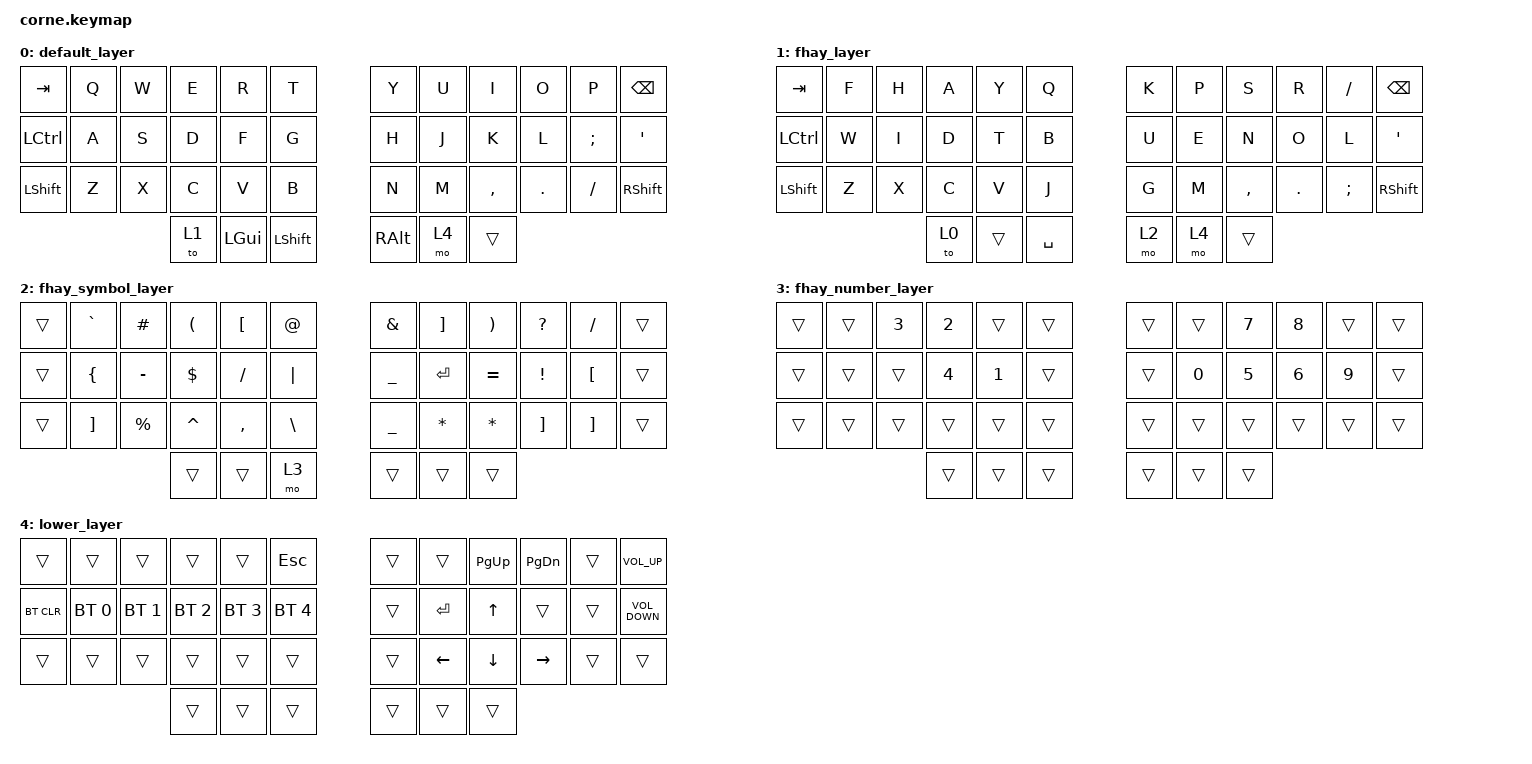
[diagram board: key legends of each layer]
/*
 * Copyright (c) 2020 The ZMK Contributors
 *
 * SPDX-License-Identifier: MIT
 */

#include <behaviors.dtsi>
#include <dt-bindings/zmk/keys.h>
#include <dt-bindings/zmk/bt.h>

/ {
        keymap {
                compatible = "zmk,keymap";

                /**
                	This is the software layer. It is a standard keyboard. The fhay keymap emulates the next three layers,
                		with:
                			RALT // symbol layer
                			RALT + SHIFT // number layer
					*/
                default_layer { // layer 0
// -----------------------------------------------------------------------------------------
// |  TAB |  Q  |  W  |  E  |  R  |  T  |   |  Y  |  U   |  I  |  O  |  P  | BSPC |
// | CTRL |  A  |  S  |  D  |  F  |  G  |   |  H  |  J   |  K  |  L  |  ;  |  '   |
// | SHFT |  Z  |  X  |  C  |  V  |  B  |   |  N  |  M   |  ,  |  .  |  /  | ESC  |
//                    | GUI | LWR | SPC |   | ENT | RSE  | ALT |
                        bindings = <
   &kp TAB   &kp Q &kp W &kp E &kp R &kp T      &kp Y &kp U  &kp I     &kp O   &kp P    &kp BSPC
   &kp LCTRL &kp A &kp S &kp D &kp F &kp G      &kp H &kp J  &kp K     &kp L   &kp SEMI &kp SQT
   &kp LSHFT &kp Z &kp X &kp C &kp V &kp B      &kp N &kp M  &kp COMMA &kp DOT &kp FSLH &kp RSHFT
                   &to 1 &kp LGUI &kp LSHFT     &kp RALT &mo 4 &trans 
                        >;
                };

                /**
                	When software is not available, switch to this layer, and then get the next two layers on a
                	hardware level.
                	*/
                fhay_layer { // layer 1
// -----------------------------------------------------------------------------------------
// |  TAB |  F  |  H  |  A  |  Y  |  Q  |   |  ^  |  &  |  *  |  (  |  )  | BSPC |
// | CTRL |  W  |  I  |  D  |  T  |  B  |   |  -  |  =  |  [  |  ]  |  \  |  `   |
// | SHFT |  Z  |  X  |  C  |  V  |  V  |   |  _  |  +  |  {  |  }  | "|" |  ~   |
//                    |     |     | SPC |   | RALT|     |     |
                        bindings = <
   &kp TAB   &kp F &kp H &kp A   &kp Y &kp Q      &kp K &kp P  &kp S     &kp R   &kp FSLH &kp BSPC
   &kp LCTRL &kp W &kp I &kp D   &kp T &kp B      &kp U &kp E  &kp N     &kp O   &kp L    &kp SQT
   &kp LSHFT &kp Z &kp X &kp C   &kp V &kp J      &kp G &kp M  &kp COMMA &kp DOT &kp SEMI &kp RSHFT
                   &to 0 &trans  &kp SPACE        &mo 2 &mo 4  &trans
                        >;
                };

                fhay_symbol_layer { // layer 2
// -----------------------------------------------------------------------------------------
// |      |  `  |  #  |  (  |  [  |  @  |   |  &  |  ]  |  )  |  ?  |  [  |      |
// |      |  {  |  -  |  $  |  /  |  |  |   |  _  |     |  =  |  !  |  {  |      |
// |      |  }  |  %  |  ^  |  ,  |  \  |   |  _  |  *  |  *  |  }  |  }  |      |
//                    |     |     |     |   |     |     |     |
					bindings =  <
&trans      &kp  GRAVE  &kp  HASH   &kp  LPAR   &kp  LBKT  &kp  AT    &kp  AMPS  &kp  RBKT  &kp  RPAR   &kp  QMARK  &kp  FSLH  &trans
&trans      &kp  LBRC   &kp  MINUS  &kp  DLLR   &kp  FSLH  &kp  PIPE  &kp  UNDER &kp  RET   &kp  EQUAL  &kp  EXCL   &kp  LBKT  &trans
&trans      &kp  RBKT   &kp  PRCNT  &kp  CARET  &kp  COMMA &kp  BSLH  &kp  UNDER &kp  STAR  &kp  STAR   &kp  RBKT   &kp  RBKT  &trans
                                    &trans      &trans     &mo 3      &trans     &trans     &trans
					>;
                };

                fhay_number_layer { // layer 3
// -----------------------------------------------------------------------------------------
// |      |  `  |  #  |  (  |  [  |  @  |   |  &  |  ]  |  )  |  ?  |  [  |      |
// |      |  {  |  -  |  $  |  /  |  |  |   |  _  |     |  =  |  !  |  {  |      |
// |      |  }  |  %  |  ^  |  ,  |  \  |   |  _  |  *  |  *  |  }  |  }  |      |
//                    |     |     |     |   |     |     |     |
// 1          2           3           4           5         6      |   6           5         4           3           2          1
					bindings =  <
&trans      &trans      &kp N3      &kp N2      &trans     &trans     &trans     &trans     &kp N7      &kp N8      &trans     &trans
&trans      &trans      &trans      &kp N4      &kp N1     &trans     &trans     &kp N0     &kp N5      &kp N6      &kp N9     &trans
&trans      &trans      &trans      &trans      &trans     &trans     &trans     &trans     &trans      &trans      &trans     &trans
                                    &trans      &trans     &trans     &trans     &trans     &trans
					>;
                };

                /**
                	This layer is currently being used for on-keyboard hardware controls
                	*/
                lower_layer { // layer 3
// -----------------------------------------------------------------------------------------
// |  TAB |  1  |  2  |  3  |  4  |  5  |   |  6  |  7  |  PG |  PGD|  0  | BSPC |
// | BTCLR| BT1 | BT2 | BT3 | BT4 | BT5 |   |     |     |  UP |     |     |      |
// | SHFT |     |     |     |     |     |   |     | LFT | DWN | RGT |     |      |
//                    | GUI |     | SPC |   | ENT |     | ALT |
                        bindings = <
   &trans     &trans       &trans       &trans       &trans       &kp ESC        &trans   &trans    &kp PAGE_UP   &kp PAGE_DOWN  &trans &kp K_VOLUME_UP
   &bt BT_CLR &bt BT_SEL 0 &bt BT_SEL 1 &bt BT_SEL 2 &bt BT_SEL 3 &bt BT_SEL 4   &trans   &kp RET   &kp UP        &trans         &trans &kp K_VOLUME_DOWN
   &trans     &trans       &trans       &trans       &trans       &trans         &trans   &kp LEFT  &kp DOWN      &kp RIGHT      &trans &trans
                                        &trans       &trans       &trans         &trans   &trans    &trans 
                                        
                        >;
                };
        };
};
